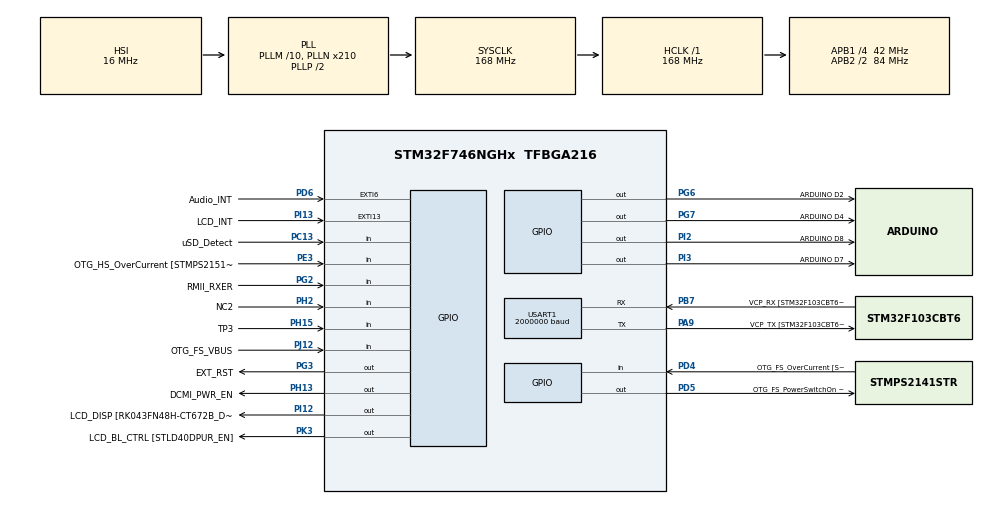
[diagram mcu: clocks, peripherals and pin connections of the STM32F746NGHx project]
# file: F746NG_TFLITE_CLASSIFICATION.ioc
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CORTEX_M7.CPU_DCache=Enabled
CORTEX_M7.CPU_ICache=Enabled
Mcu.Family=STM32F7
Mcu.Name=STM32F746NGHx
Mcu.Package=TFBGA216
NVIC.PriorityGroup=NVIC_PRIORITYGROUP_4
PA0/WKUP.GPIO_Label=ARDUINO A0
PA0/WKUP.GPIO_Mode=GPIO_MODE_ANALOG
PA0/WKUP.GPIO_PuPd=GPIO_NOPULL
PA0/WKUP.Signal=ADCx_IN0
PA1.GPIO_Label=RMII_REF_CLK [LAN8742A-CZ-TR_REFCLK0]
PA1.Signal=ETH_REF_CLK
PA10.GPIO_Label=OTG_FS_ID
PA10.Signal=USB_OTG_FS_ID
PA11.GPIO_Label=OTG_FS_N
PA11.Signal=USB_OTG_FS_DM
PA12.GPIO_Label=OTG_FS_P
PA12.Signal=USB_OTG_FS_DP
PA13.GPIO_Label=SWDIO
PA13.Signal=SYS_JTMS-SWDIO
PA14.GPIO_Label=SWCLK
PA14.Signal=SYS_JTCK-SWCLK
PA15.GPIO_Label=ARDUINO PWM/D9
PA15.GPIO_ModeDefaultPP=GPIO_MODE_AF_PP
PA15.GPIO_PuPd=GPIO_NOPULL
PA15.GPIO_Speed=GPIO_SPEED_FREQ_LOW
PA15.Signal=S_TIM2_CH1_ETR
PA2.GPIO_Label=RMII_MDIO [LAN8742A-CZ-TR_MDIO]
PA2.Signal=ETH_MDIO
PA3.GPIO_Label=ULPI_D0 [USB3320C-EZK_D0]
PA3.Signal=USB_OTG_HS_ULPI_D0
PA4.GPIO_Label=DCMI_HSYNC
PA4.Signal=DCMI_HSYNC
PA5.GPIO_Label=ULPI_CLK [USB3320C-EZK_CLKOUT]
PA5.Signal=USB_OTG_HS_ULPI_CK
PA6.Signal=DCMI_PIXCLK
PA7.GPIO_Label=RMII_CRS_DV [LAN8742A-CZ-TR_CRS_DV]
PA7.Signal=ETH_CRS_DV
PA8.GPIO_Label=ARDUINO PWM/D10
PA8.GPIO_ModeDefaultPP=GPIO_MODE_AF_PP
PA8.GPIO_PuPd=GPIO_NOPULL
PA8.GPIO_Speed=GPIO_SPEED_FREQ_LOW
PA8.Signal=S_TIM1_CH1
PA9.GPIO_Label=VCP_TX [STM32F103CBT6_PA3]
PA9.GPIO_Mode=GPIO_MODE_AF_PP
PA9.GPIO_PuPd=GPIO_NOPULL
PA9.GPIO_Speed=GPIO_SPEED_FREQ_LOW
PA9.Mode=Asynchronous
PA9.Signal=USART1_TX
PB0.GPIO_Label=ULPI_D1 [USB3320C-EZK_D1]
PB0.Signal=USB_OTG_HS_ULPI_D1
PB1.GPIO_Label=ULPI_D2 [USB3320C-EZK_D2]
PB1.Signal=USB_OTG_HS_ULPI_D2
PB10.GPIO_Label=ULPI_D3 [USB3320C-EZK_D3]
PB10.Signal=USB_OTG_HS_ULPI_D3
PB11.GPIO_Label=ULPI_D4 [USB3320C-EZK_D4]
PB11.Signal=USB_OTG_HS_ULPI_D4
PB12.GPIO_Label=ULPI_D5 [USB3320C-EZK_D5]
PB12.Signal=USB_OTG_HS_ULPI_D5
PB13.GPIO_Label=ULPI_D6 [USB3320C-EZK_D6]
PB13.Signal=USB_OTG_HS_ULPI_D6
PB14.GPIO_Label=ARDUINO MISO/D12
PB14.GPIO_Mode=GPIO_MODE_AF_PP
PB14.GPIO_PuPd=GPIO_NOPULL
PB14.GPIO_Speed=GPIO_SPEED_FREQ_LOW
PB14.Signal=SPI2_MISO
PB15.GPIO_Label=ARDUINO MOSI/PWM/D11
PB15.GPIO_Mode=GPIO_MODE_AF_PP
PB15.GPIO_PuPd=GPIO_NOPULL
PB15.GPIO_Speed=GPIO_SPEED_FREQ_LOW
PB15.Signal=SPI2_MOSI
PB2.Signal=QUADSPI_CLK
PB3.GPIO_Label=SWO
PB3.Signal=SYS_JTDO-SWO
PB4.GPIO_Label=ARDUINO PWM/D3
PB4.GPIO_ModeDefaultPP=GPIO_MODE_AF_PP
PB4.GPIO_PuPd=GPIO_NOPULL
PB4.GPIO_Speed=GPIO_SPEED_FREQ_LOW
PB4.Signal=S_TIM3_CH1
PB5.GPIO_Label=ULPI_D7 [USB3320C-EZK_D7]
PB5.Signal=USB_OTG_HS_ULPI_D7
PB6.GPIO_Label=QSPI_NCS [N25Q128A13EF840E_S]
PB6.Signal=QUADSPI_BK1_NCS
PB7.GPIO_Label=VCP_RX [STM32F103CBT6_PA2]
PB7.GPIO_Mode=GPIO_MODE_AF_PP
PB7.GPIO_PuPd=GPIO_NOPULL
PB7.GPIO_Speed=GPIO_SPEED_FREQ_LOW
PB7.Mode=Asynchronous
PB7.Signal=USART1_RX
PB8.GPIO_Label=ARDUINO SCL/D15
PB8.GPIO_Mode=GPIO_MODE_AF_OD
PB8.GPIO_PuPd=GPIO_NOPULL
PB8.GPIO_Speed=GPIO_SPEED_FREQ_LOW
PB8.Signal=I2C1_SCL
PB9.GPIO_Label=ARDUINO SDA/D14
PB9.GPIO_Mode=GPIO_MODE_AF_OD
PB9.GPIO_PuPd=GPIO_NOPULL
PB9.GPIO_Speed=GPIO_SPEED_FREQ_LOW
PB9.Signal=I2C1_SDA
PC0.GPIO_Label=ULPI_STP [USB3320C-EZK_STP]
PC0.Signal=USB_OTG_HS_ULPI_STP
PC1.GPIO_Label=RMII_MDC [LAN8742A-CZ-TR_MDC]
PC1.Signal=ETH_MDC
PC10.GPIO_Label=SDMMC_D2
PC10.Signal=SDMMC1_D2
PC11.GPIO_Label=SDMMC_D3
PC11.Signal=SDMMC1_D3
PC12.GPIO_Label=SDMMC_CK
PC12.Signal=SDMMC1_CK
PC13.GPIO_Label=uSD_Detect
PC13.Signal=GPIO_Input
PC14/OSC32_IN.GPIO_Label=RCC_OSC32_IN
PC14/OSC32_IN.Signal=RCC_OSC32_IN
PC15/OSC32_OUT.GPIO_Label=RCC_OSC32_OUT
PC15/OSC32_OUT.Signal=RCC_OSC32_OUT
PC2.GPIO_Label=ULPI_DIR [USB3320C-EZK_DIR]
PC2.Signal=USB_OTG_HS_ULPI_DIR
PC3.GPIO_Label=FMC_SDCKE0 [MT48LC4M32B2B5-6A_CKE]
PC3.Signal=FMC_SDCKE0
PC4.GPIO_Label=RMII_RXD0 [LAN8742A-CZ-TR_RXD0]
PC4.Signal=ETH_RXD0
PC5.GPIO_Label=RMII_RXD1 [LAN8742A-CZ-TR_RXD1]
PC5.Signal=ETH_RXD1
PC6.GPIO_Label=ARDUINO TX/D1
PC6.Signal=USART6_TX
PC7.GPIO_Label=ARDUINO RX/D0
PC7.Signal=USART6_RX
PC8.Signal=SDMMC1_D0
PC9.Signal=SDMMC1_D1
PD0.GPIO_Label=FMC_D2 [MT48LC4M32B2B5-6A_DQ2]
PD0.Signal=FMC_D2_DA2
PD1.GPIO_Label=FMC_D3 [MT48LC4M32B2B5-6A_DQ3]
PD1.Signal=FMC_D3_DA3
PD10.GPIO_Label=FMC_D15 [MT48LC4M32B2B5-6A_DQ15]
PD10.Signal=FMC_D15_DA15
PD11.GPIO_Label=QSPI_D0 [N25Q128A13EF840E_DQ0]
PD11.Signal=QUADSPI_BK1_IO0
PD12.GPIO_Label=QSPI_D1 [N25Q128A13EF840E_DQ1]
PD12.Signal=QUADSPI_BK1_IO1
PD13.GPIO_Label=QSPI_D3 [N25Q128A13EF840E_DQ3]
PD13.Signal=QUADSPI_BK1_IO3
PD14.GPIO_Label=FMC_D0 [MT48LC4M32B2B5-6A_DQ0]
PD14.Signal=FMC_D0_DA0
PD15.GPIO_Label=FMC_D1 [MT48LC4M32B2B5-6A_DQ1]
PD15.Signal=FMC_D1_DA1
PD2.GPIO_Label=SDMMC_D0
PD2.Signal=SDMMC1_CMD
PD3.GPIO_Label=DCMI_D5
PD3.Signal=DCMI_D5
PD4.GPIO_Label=OTG_FS_OverCurrent [STMPS2141STR_Fault]
PD4.Signal=GPIO_Input
PD5.GPIO_Label=OTG_FS_PowerSwitchOn [STMPS2141STR_EN]
PD5.PinState=GPIO_PIN_SET
PD5.Signal=GPIO_Output
PD6.GPIO_Label=Audio_INT
PD6.GPIO_ModeDefaultEXTI=GPIO_MODE_EVT_RISING
PD6.Signal=GPXTI6
PD7.GPIO_Label=SPDIF_RX0 [74LVC1G04SE_4]
PD7.Signal=SPDIFRX_IN0
PD8.GPIO_Label=FMC_D13 [MT48LC4M32B2B5-6A_DQ13]
PD8.Signal=FMC_D13_DA13
PD9.GPIO_Label=FMC_D14 [MT48LC4M32B2B5-6A_DQ14]
PD9.Signal=FMC_D14_DA14
PE0.GPIO_Label=FMC_NBL0 [MT48LC4M32B2B5-6A_DQM0]
PE0.Signal=FMC_NBL0
PE1.GPIO_Label=FMC_NBL1 [MT48LC4M32B2B5-6A_DQM1]
PE1.Signal=FMC_NBL1
PE10.GPIO_Label=FMC_D7 [MT48LC4M32B2B5-6A_DQ7]
PE10.Signal=FMC_D7_DA7
PE11.GPIO_Label=FMC_D8 [MT48LC4M32B2B5-6A_DQ8]
PE11.Signal=FMC_D8_DA8
PE12.GPIO_Label=FMC_D9 [MT48LC4M32B2B5-6A_DQ9]
PE12.Signal=FMC_D9_DA9
PE13.GPIO_Label=FMC_D10 [MT48LC4M32B2B5-6A_DQ10]
PE13.Signal=FMC_D10_DA10
PE14.GPIO_Label=FMC_D11 [MT48LC4M32B2B5-6A_DQ11]
PE14.Signal=FMC_D11_DA11
PE15.GPIO_Label=FMC_D12 [MT48LC4M32B2B5-6A_DQ12]
PE15.Signal=FMC_D12_DA12
PE2.GPIO_Label=QSPI_D2 [N25Q128A13EF840E_DQ2]
PE2.Signal=QUADSPI_BK1_IO2
PE3.GPIO_Label=OTG_HS_OverCurrent [STMPS2151STR_FAULT]
PE3.Signal=GPIO_Input
PE4.GPIO_Label=LCD_B0 [RK043FN48H-CT672B_B0]
PE4.Signal=LTDC_B0
PE5.GPIO_Label=DCMI_D6
PE5.Signal=DCMI_D6
PE6.GPIO_Label=DCMI_D7
PE6.Signal=DCMI_D7
PE7.GPIO_Label=FMC_D4 [MT48LC4M32B2B5-6A_DQ4]
PE7.Signal=FMC_D4_DA4
PE8.GPIO_Label=FMC_D5 [MT48LC4M32B2B5-6A_DQ5]
PE8.Signal=FMC_D5_DA5
PE9.GPIO_Label=FMC_D6 [MT48LC4M32B2B5-6A_DQ6]
PE9.Signal=FMC_D6_DA6
PF0.GPIO_Label=FMC_A0 [MT48LC4M32B2B5-6A_A0]
PF0.Signal=FMC_A0
PF1.GPIO_Label=FMC_A1 [MT48LC4M32B2B5-6A_A1]
PF1.Signal=FMC_A1
PF10.GPIO_Label=ARDUINO A1
PF10.GPIO_Mode=GPIO_MODE_ANALOG
PF10.GPIO_PuPd=GPIO_NOPULL
PF10.Signal=ADC3_IN8
PF11.GPIO_Label=FMC_SDNRAS [MT48LC4M32B2B5-6A_RAS]
PF11.Signal=FMC_SDNRAS
PF12.GPIO_Label=FMC_A6 [MT48LC4M32B2B5-6A_A6]
PF12.Signal=FMC_A6
PF13.GPIO_Label=FMC_A7 [MT48LC4M32B2B5-6A_A7]
PF13.Signal=FMC_A7
PF14.GPIO_Label=FMC_A8 [MT48LC4M32B2B5-6A_A8]
PF14.Signal=FMC_A8
PF15.GPIO_Label=FMC_A9 [MT48LC4M32B2B5-6A_A9]
PF15.Signal=FMC_A9
PF2.GPIO_Label=FMC_A2 [MT48LC4M32B2B5-6A_A2]
PF2.Signal=FMC_A2
PF3.GPIO_Label=FMC_A3 [MT48LC4M32B2B5-6A_A3]
PF3.Signal=FMC_A3
PF4.GPIO_Label=FMC_A4 [MT48LC4M32B2B5-6A_A4]
PF4.Signal=FMC_A4
PF5.GPIO_Label=FMC_A5 [MT48LC4M32B2B5-6A_A5]
PF5.Signal=FMC_A5
PF6.GPIO_Label=ARDUINO A5
PF6.GPIO_Mode=GPIO_MODE_ANALOG
PF6.GPIO_PuPd=GPIO_NOPULL
PF6.Signal=ADC3_IN4
PF7.GPIO_Label=ARDUINO A4
PF7.GPIO_Mode=GPIO_MODE_ANALOG
PF7.GPIO_PuPd=GPIO_NOPULL
PF7.Signal=ADC3_IN5
PF8.GPIO_Label=ARDUINO A3
PF8.GPIO_Mode=GPIO_MODE_ANALOG
PF8.GPIO_PuPd=GPIO_NOPULL
PF8.Signal=ADC3_IN6
PF9.GPIO_Label=ARDUINO A2
PF9.GPIO_Mode=GPIO_MODE_ANALOG
PF9.GPIO_PuPd=GPIO_NOPULL
PF9.Signal=ADC3_IN7
PG0.GPIO_Label=FMC_A10 [MT48LC4M32B2B5-6A_A10]
PG0.Signal=FMC_A10
PG1.GPIO_Label=FMC_A11 [MT48LC4M32B2B5-6A_A11]
PG1.Signal=FMC_A11
PG10.GPIO_Label=SAI2_SDB [WM8994ECS/R_ADCDAT1]
PG10.Signal=SAI2_SD_B
PG11.GPIO_Label=RMII_TX_EN [LAN8742A-CZ-TR_TXEN]
PG11.Signal=ETH_TX_EN
PG12.GPIO_Label=LCD_B4 [RK043FN48H-CT672B_B4]
PG12.Signal=LTDC_B4
PG13.GPIO_Label=RMII_TXD0 [LAN8742A-CZ-TR_TXD0]
PG13.Signal=ETH_TXD0
PG14.GPIO_Label=RMII_TXD1 [LAN8742A-CZ-TR_TXD1]
PG14.Signal=ETH_TXD1
PG15.GPIO_Label=FMC_SDNCAS [MT48LC4M32B2B5-6A_CAS]
PG15.Signal=FMC_SDNCAS
PG2.GPIO_Label=RMII_RXER
PG2.Signal=GPIO_Input
PG3.GPIO_Label=EXT_RST
PG3.Signal=GPIO_Output
PG4.GPIO_Label=FMC_BA0 [MT48LC4M32B2B5-6A_BA0]
PG4.Signal=FMC_A14_BA0
PG5.GPIO_Label=FMC_BA1 [MT48LC4M32B2B5-6A_BA1]
PG5.Signal=FMC_A15_BA1
PG6.GPIO_Label=ARDUINO D2
PG6.Signal=GPIO_Output
PG7.GPIO_Label=ARDUINO D4
PG7.Signal=GPIO_Output
PG8.GPIO_Label=FMC_SDCLK [MT48LC4M32B2B5-6A_CLK]
PG8.Signal=FMC_SDCLK
PG9.GPIO_Label=DCMI_VSYNC
PG9.Signal=DCMI_VSYNC
PH0/OSC_IN.GPIO_Label=OSC_25M [NZ2520SB-25.00M_OUT]
PH0/OSC_IN.Signal=RCC_OSC_IN
PH1/OSC_OUT.Signal=RCC_OSC_OUT
PH10.GPIO_Label=DCMI_D1
PH10.Signal=DCMI_D1
PH11.GPIO_Label=DCMI_D2
PH11.Signal=DCMI_D2
PH12.GPIO_Label=DCMI_D3
PH12.Signal=DCMI_D3
PH13.GPIO_Label=DCMI_PWR_EN
PH13.Signal=GPIO_Output
PH14.GPIO_Label=DCMI_D4
PH14.Signal=DCMI_D4
PH15.GPIO_Label=TP3
PH15.Signal=GPIO_Input
PH2.GPIO_Label=NC2
PH2.Signal=GPIO_Input
PH3.GPIO_Label=FMC_SDNE0 [MT48LC4M32B2B5-6A_CS]
PH3.Signal=FMC_SDNE0
PH4.GPIO_Label=ULPI_NXT [USB3320C-EZK_NXT]
PH4.Signal=USB_OTG_HS_ULPI_NXT
PH5.GPIO_Label=FMC_SDNME [MT48LC4M32B2B5-6A_WE]
PH5.Signal=FMC_SDNWE
PH6.GPIO_Label=ARDUINO PWM/D6
PH6.Signal=S_TIM12_CH1
PH7.GPIO_Label=LCD_SCL [RK043FN48H-CT672B_SCL]
PH7.Signal=I2C3_SCL
PH8.GPIO_Label=LCD_SDA [RK043FN48H-CT672B_SDA]
PH8.Signal=I2C3_SDA
PH9.GPIO_Label=DCMI_D0
PH9.Signal=DCMI_D0
PI0.GPIO_Label=ARDUINO PWM/CS/D5
PI0.GPIO_ModeDefaultPP=GPIO_MODE_AF_PP
PI0.GPIO_PuPd=GPIO_NOPULL
PI0.GPIO_Speed=GPIO_SPEED_FREQ_LOW
PI0.Signal=S_TIM5_CH4
PI1.GPIO_Label=ARDUINO SCK/D13
PI1.GPIO_Mode=GPIO_MODE_AF_PP
PI1.GPIO_PuPd=GPIO_NOPULL
PI1.GPIO_Speed=GPIO_SPEED_FREQ_LOW
PI1.Signal=SPI2_SCK
PI10.GPIO_Label=LCD_HSYNC [RK043FN48H-CT672B_HSYNC]
PI10.Signal=LTDC_HSYNC
PI12.GPIO_Label=LCD_DISP [RK043FN48H-CT672B_DISP] 
PI12.Signal=GPIO_Output
PI13.GPIO_Label=LCD_INT
PI13.GPIO_ModeDefaultEXTI=GPIO_MODE_EVT_RISING
PI13.Signal=GPXTI13
PI14.GPIO_Label=LCD_CLK [RK043FN48H-CT672B_CLK]
PI14.Signal=LTDC_CLK
PI15.GPIO_Label=LCD_R0 [RK043FN48H-CT672B_R0]
PI15.Signal=LTDC_R0
PI2.GPIO_Label=ARDUINO D8
PI2.Signal=GPIO_Output
PI3.GPIO_Label=ARDUINO D7
PI3.Signal=GPIO_Output
PI4.GPIO_Label=SAI2_MCLKA [WM8994ECS/R_MCLK1]
PI4.Signal=SAI2_MCLK_A
PI5.GPIO_Label=SAI2_SCKA [WM8994ECS/R_BCLK1]
PI5.Signal=SAI2_SCK_A
PI6.GPIO_Label=SAI2_SDA [WM8994ECS/R_DACDAT1]
PI6.Signal=SAI2_SD_A
PI7.GPIO_Label=SAI2_FSA [WM8994ECS/R_LRCLK1]
PI7.Signal=SAI2_FS_A
PI8.GPIO_Label=NC1 [TP2]
PI8.Signal=RTC_TS
PI9.GPIO_Label=LCD_VSYNC [RK043FN48H-CT672B_VSYNC]
PI9.Signal=LTDC_VSYNC
PJ0.GPIO_Label=LCD_R1 [RK043FN48H-CT672B_R1]
PJ0.Signal=LTDC_R1
PJ1.GPIO_Label=LCD_R2 [RK043FN48H-CT672B_R2]
PJ1.Signal=LTDC_R2
PJ10.GPIO_Label=LCD_G3 [RK043FN48H-CT672B_G3]
PJ10.Signal=LTDC_G3
PJ11.GPIO_Label=LCD_G4 [RK043FN48H-CT672B_G4]
PJ11.Signal=LTDC_G4
PJ12.GPIO_Label=OTG_FS_VBUS
PJ12.Signal=GPIO_Input
PJ13.GPIO_Label=LCD_B1 [RK043FN48H-CT672B_B1]
PJ13.Signal=LTDC_B1
PJ14.GPIO_Label=LCD_B2 [RK043FN48H-CT672B_B2]
PJ14.Signal=LTDC_B2
PJ15.GPIO_Label=LCD_B3 [RK043FN48H-CT672B_B3]
PJ15.Signal=LTDC_B3
PJ2.GPIO_Label=LCD_R3 [RK043FN48H-CT672B_R3]
PJ2.Signal=LTDC_R3
PJ3.GPIO_Label=LCD_R4 [RK043FN48H-CT672B_R4]
PJ3.Signal=LTDC_R4
PJ4.GPIO_Label=LCD_R5 [RK043FN48H-CT672B_R5]
PJ4.Signal=LTDC_R5
PJ5.GPIO_Label=LCD_R6 [RK043FN48H-CT672B_R6]
PJ5.Signal=LTDC_R6
PJ6.GPIO_Label=LCD_R7 [RK043FN48H-CT672B_R7]
PJ6.Signal=LTDC_R7
PJ7.GPIO_Label=LCD_G0 [RK043FN48H-CT672B_G0]
PJ7.Signal=LTDC_G0
PJ8.GPIO_Label=LCD_G1 [RK043FN48H-CT672B_G1]
PJ8.Signal=LTDC_G1
PJ9.GPIO_Label=LCD_G2 [RK043FN48H-CT672B_G2]
PJ9.Signal=LTDC_G2
PK0.GPIO_Label=LCD_G5 [RK043FN48H-CT672B_G5]
PK0.Signal=LTDC_G5
PK1.GPIO_Label=LCD_G6 [RK043FN48H-CT672B_G6]
PK1.Signal=LTDC_G6
PK2.GPIO_Label=LCD_G7 [RK043FN48H-CT672B_G7]
PK2.Signal=LTDC_G7
PK3.GPIO_Label=LCD_BL_CTRL [STLD40DPUR_EN]
PK3.Signal=GPIO_Output
PK4.GPIO_Label=LCD_B5 [RK043FN48H-CT672B_B5]
PK4.Signal=LTDC_B5
PK5.GPIO_Label=LCD_B6 [RK043FN48H-CT672B_B6]
PK5.Signal=LTDC_B6
PK6.GPIO_Label=LCD_B7 [RK043FN48H-CT672B_B7]
PK6.Signal=LTDC_B7
PK7.GPIO_Label=LCD_DE [RK043FN48H-CT672B_DE]
PK7.Signal=LTDC_DE
ProjectManager.HeapSize=0x200
ProjectManager.StackSize=0x400
ProjectManager.TargetToolchain=STM32CubeIDE
RCC.AHBFreq_Value=168000000
RCC.APB1CLKDivider=RCC_HCLK_DIV4
RCC.APB1Freq_Value=42000000
RCC.APB1TimFreq_Value=84000000
RCC.APB2CLKDivider=RCC_HCLK_DIV2
RCC.APB2Freq_Value=84000000
RCC.APB2TimFreq_Value=168000000
RCC.CortexFreq_Value=168000000
RCC.HCLKFreq_Value=168000000
RCC.HSE_VALUE=25000000
RCC.HSI_VALUE=16000000
RCC.LSE_VALUE=32768
RCC.PLLM=10
RCC.PLLN=210
RCC.PLLQ=7
RCC.PLLSourceVirtual=RCC_PLLSOURCE_HSI
RCC.SYSCLKFreq_VALUE=168000000
RCC.SYSCLKSource=RCC_SYSCLKSOURCE_PLLCLK
RCC.USBFreq_Value=48000000
RCC.VCOOutputFreq_Value=336000000
SH.ADCx_IN0.0=ADC3_IN0
SH.FMC_A0.0=FMC_A0
SH.FMC_A1.0=FMC_A1
SH.FMC_A10.0=FMC_A10
SH.FMC_A11.0=FMC_A11
SH.FMC_A14_BA0.0=FMC_BA0
SH.FMC_A15_BA1.0=FMC_BA1
SH.FMC_A2.0=FMC_A2
SH.FMC_A3.0=FMC_A3
SH.FMC_A4.0=FMC_A4
SH.FMC_A5.0=FMC_A5
SH.FMC_A6.0=FMC_A6
SH.FMC_A7.0=FMC_A7
SH.FMC_A8.0=FMC_A8
SH.FMC_A9.0=FMC_A9
SH.FMC_D0_DA0.0=FMC_D0
SH.FMC_D10_DA10.0=FMC_D10
SH.FMC_D11_DA11.0=FMC_D11
SH.FMC_D12_DA12.0=FMC_D12
SH.FMC_D13_DA13.0=FMC_D13
SH.FMC_D14_DA14.0=FMC_D14
SH.FMC_D15_DA15.0=FMC_D15
SH.FMC_D1_DA1.0=FMC_D1
SH.FMC_D2_DA2.0=FMC_D2
SH.FMC_D3_DA3.0=FMC_D3
SH.FMC_D4_DA4.0=FMC_D4
SH.FMC_D5_DA5.0=FMC_D5
SH.FMC_D6_DA6.0=FMC_D6
SH.FMC_D7_DA7.0=FMC_D7
SH.FMC_D8_DA8.0=FMC_D8
SH.FMC_D9_DA9.0=FMC_D9
SH.FMC_NBL0.0=FMC_NBL0
SH.FMC_NBL1.0=FMC_NBL1
SH.FMC_SDCLK.0=FMC_SDCLK
SH.FMC_SDNCAS.0=FMC_SDNCAS
SH.FMC_SDNRAS.0=FMC_SDNRAS
SH.FMC_SDNWE.0=FMC_SDNWE
SH.S_TIM12_CH1.0=TIM12_CH1
SH.S_TIM1_CH1.0=TIM1_CH1
SH.S_TIM2_CH1_ETR.0=TIM2_CH1
SH.S_TIM3_CH1.0=TIM3_CH1
SH.S_TIM5_CH4.0=TIM5_CH4
USART1.BaudRate=2000000
USART1.VirtualMode-Asynchronous=VM_ASYNC
VP_RNG_VS_RNG.Mode=RNG_Activate
board=STM32F746G-DISCO

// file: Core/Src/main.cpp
/* USER CODE BEGIN Header */
/**
  ******************************************************************************
  * @file           : main.c
  * @brief          : Main program body
  ******************************************************************************
  * @attention
  *
  * Copyright (c) 2024 STMicroelectronics.
  * All rights reserved.
  *
  * This software is licensed under terms that can be found in the LICENSE file
  * in the root directory of this software component.
  * If no LICENSE file comes with this software, it is provided AS-IS.
  *
  ******************************************************************************
  */
/* USER CODE END Header */
#include "main.h"

/* USER CODE BEGIN Includes */
#include "classification.h"
#include "lib_serial.h"
#include "lib_rng.h"
#include "lib_model.h"
/* USER CODE END Includes */

RNG_HandleTypeDef hrng;

UART_HandleTypeDef huart1;

void SystemClock_Config(void);
static void MX_GPIO_Init(void);
static void MX_RNG_Init(void);
static void MX_USART1_UART_Init(void);

/* USER CODE BEGIN 0 */

#define INPUT_PC		1
#define INPUT_MCU		2
#define INPUT			INPUT_PC

#define SIZE_INPUT 		2
#define SIZE_OUTPUT 	1

constexpr int kTensorArenaSize = 136 * 1024;
alignas(16) static uint8_t tensor_arena[kTensorArenaSize];
TfLiteTensor* input = nullptr;
TfLiteTensor* output = nullptr;

/* USER CODE END 0 */

int main(void)
{

  /* Enable I-Cache---------------------------------------------------------*/
  SCB_EnableICache();

  /* Enable D-Cache---------------------------------------------------------*/
  SCB_EnableDCache();

  /* MCU Configuration--------------------------------------------------------*/

  /* Reset of all peripherals, Initializes the Flash interface and the Systick. */
  HAL_Init();

  /* Configure the system clock */
  SystemClock_Config();

  /* Initialize all configured peripherals */
  MX_GPIO_Init();
  MX_RNG_Init();
  MX_USART1_UART_Init();
  /* USER CODE BEGIN 2 */
  LIB_MODEL_Init(converted_model_tflite, &input, tensor_arena, kTensorArenaSize);
  /* USER CODE END 2 */

  /* Infinite loop */
  while (1)
  {

    /* USER CODE BEGIN 3 */
#if (INPUT == INPUT_PC)
	LIB_SERIAL_Receive(input->data.f, SIZE_INPUT, TYPE_F32);
#elif (INPUT == INPUT_MCU)
	for (uint32_t i = 0; i < SIZE_INPUT; ++i)
		input->data.f[i] = (float)(LIB_RNG_GetRandomNumber() % 1000) / 1000.0f;
	LIB_SERIAL_Transmit(input->data.f, SIZE_INPUT, TYPE_F32);
#endif
	LIB_MODEL_Run(&output);
	LIB_SERIAL_Transmit(output->data.f, SIZE_OUTPUT, TYPE_F32);
	HAL_Delay(1000);
  }
  /* USER CODE END 3 */
}

void SystemClock_Config(void)
{
  RCC_OscInitTypeDef RCC_OscInitStruct = {0};
  RCC_ClkInitTypeDef RCC_ClkInitStruct = {0};

  /** Configure the main internal regulator output voltage
  */
  __HAL_RCC_PWR_CLK_ENABLE();
  __HAL_PWR_VOLTAGESCALING_CONFIG(PWR_REGULATOR_VOLTAGE_SCALE2);
  /** Initializes the RCC Oscillators according to the specified parameters
  * in the RCC_OscInitTypeDef structure.
  */
  RCC_OscInitStruct.OscillatorType = RCC_OSCILLATORTYPE_HSI;
  RCC_OscInitStruct.HSIState = RCC_HSI_ON;
  RCC_OscInitStruct.HSICalibrationValue = RCC_HSICALIBRATION_DEFAULT;
  RCC_OscInitStruct.PLL.PLLState = RCC_PLL_ON;
  RCC_OscInitStruct.PLL.PLLSource = RCC_PLLSOURCE_HSI;
  RCC_OscInitStruct.PLL.PLLM = 10;
  RCC_OscInitStruct.PLL.PLLN = 210;
  RCC_OscInitStruct.PLL.PLLP = RCC_PLLP_DIV2;
  RCC_OscInitStruct.PLL.PLLQ = 7;
  if (HAL_RCC_OscConfig(&RCC_OscInitStruct) != HAL_OK)
  {
    Error_Handler();
  }
  /** Initializes the CPU, AHB and APB buses clocks
  */
  RCC_ClkInitStruct.ClockType = RCC_CLOCKTYPE_HCLK|RCC_CLOCKTYPE_SYSCLK
                              |RCC_CLOCKTYPE_PCLK1|RCC_CLOCKTYPE_PCLK2;
  RCC_ClkInitStruct.SYSCLKSource = RCC_SYSCLKSOURCE_PLLCLK;
  RCC_ClkInitStruct.AHBCLKDivider = RCC_SYSCLK_DIV1;
  RCC_ClkInitStruct.APB1CLKDivider = RCC_HCLK_DIV4;
  RCC_ClkInitStruct.APB2CLKDivider = RCC_HCLK_DIV2;

  if (HAL_RCC_ClockConfig(&RCC_ClkInitStruct, FLASH_LATENCY_5) != HAL_OK)
  {
    Error_Handler();
  }
}

static void MX_RNG_Init(void)
{

  hrng.Instance = RNG;
  if (HAL_RNG_Init(&hrng) != HAL_OK)
  {
    Error_Handler();
  }

}

static void MX_USART1_UART_Init(void)
{

  huart1.Instance = USART1;
  huart1.Init.BaudRate = 2000000;
  huart1.Init.WordLength = UART_WORDLENGTH_8B;
  huart1.Init.StopBits = UART_STOPBITS_1;
  huart1.Init.Parity = UART_PARITY_NONE;
  huart1.Init.Mode = UART_MODE_TX_RX;
  huart1.Init.HwFlowCtl = UART_HWCONTROL_NONE;
  huart1.Init.OverSampling = UART_OVERSAMPLING_16;
  huart1.Init.OneBitSampling = UART_ONE_BIT_SAMPLE_DISABLE;
  huart1.AdvancedInit.AdvFeatureInit = UART_ADVFEATURE_NO_INIT;
  if (HAL_UART_Init(&huart1) != HAL_OK)
  {
    Error_Handler();
  }

}

static void MX_GPIO_Init(void)
{
  GPIO_InitTypeDef GPIO_InitStruct = {0};

  /* GPIO Ports Clock Enable */
  __HAL_RCC_GPIOE_CLK_ENABLE();
  __HAL_RCC_GPIOG_CLK_ENABLE();
  __HAL_RCC_GPIOB_CLK_ENABLE();
  __HAL_RCC_GPIOD_CLK_ENABLE();
  __HAL_RCC_GPIOC_CLK_ENABLE();
  __HAL_RCC_GPIOA_CLK_ENABLE();
  __HAL_RCC_GPIOJ_CLK_ENABLE();
  __HAL_RCC_GPIOI_CLK_ENABLE();
  __HAL_RCC_GPIOK_CLK_ENABLE();
  __HAL_RCC_GPIOF_CLK_ENABLE();
  __HAL_RCC_GPIOH_CLK_ENABLE();

  /*Configure GPIO pin Output Level */
  HAL_GPIO_WritePin(OTG_FS_PowerSwitchOn_GPIO_Port, OTG_FS_PowerSwitchOn_Pin, GPIO_PIN_SET);

  /*Configure GPIO pin Output Level */
  HAL_GPIO_WritePin(GPIOI, ARDUINO_D7_Pin|ARDUINO_D8_Pin|LCD_DISP_Pin, GPIO_PIN_RESET);

  /*Configure GPIO pin Output Level */
  HAL_GPIO_WritePin(LCD_BL_CTRL_GPIO_Port, LCD_BL_CTRL_Pin, GPIO_PIN_RESET);

  /*Configure GPIO pin Output Level */
  HAL_GPIO_WritePin(DCMI_PWR_EN_GPIO_Port, DCMI_PWR_EN_Pin, GPIO_PIN_RESET);

  /*Configure GPIO pin Output Level */
  HAL_GPIO_WritePin(GPIOG, ARDUINO_D4_Pin|ARDUINO_D2_Pin|EXT_RST_Pin, GPIO_PIN_RESET);

  /*Configure GPIO pin : LCD_B0_Pin */
  GPIO_InitStruct.Pin = LCD_B0_Pin;
  GPIO_InitStruct.Mode = GPIO_MODE_AF_PP;
  GPIO_InitStruct.Pull = GPIO_NOPULL;
  GPIO_InitStruct.Speed = GPIO_SPEED_FREQ_LOW;
  GPIO_InitStruct.Alternate = GPIO_AF14_LTDC;
  HAL_GPIO_Init(LCD_B0_GPIO_Port, &GPIO_InitStruct);

  /*Configure GPIO pin : OTG_HS_OverCurrent_Pin */
  GPIO_InitStruct.Pin = OTG_HS_OverCurrent_Pin;
  GPIO_InitStruct.Mode = GPIO_MODE_INPUT;
  GPIO_InitStruct.Pull = GPIO_NOPULL;
  HAL_GPIO_Init(OTG_HS_OverCurrent_GPIO_Port, &GPIO_InitStruct);

  /*Configure GPIO pin : QSPI_D2_Pin */
  GPIO_InitStruct.Pin = QSPI_D2_Pin;
  GPIO_InitStruct.Mode = GPIO_MODE_AF_PP;
  GPIO_InitStruct.Pull = GPIO_NOPULL;
  GPIO_InitStruct.Speed = GPIO_SPEED_FREQ_VERY_HIGH;
  GPIO_InitStruct.Alternate = GPIO_AF9_QUADSPI;
  HAL_GPIO_Init(QSPI_D2_GPIO_Port, &GPIO_InitStruct);

  /*Configure GPIO pins : RMII_TXD1_Pin RMII_TXD0_Pin RMII_TX_EN_Pin */
  GPIO_InitStruct.Pin = RMII_TXD1_Pin|RMII_TXD0_Pin|RMII_TX_EN_Pin;
  GPIO_InitStruct.Mode = GPIO_MODE_AF_PP;
  GPIO_InitStruct.Pull = GPIO_NOPULL;
  GPIO_InitStruct.Speed = GPIO_SPEED_FREQ_VERY_HIGH;
  GPIO_InitStruct.Alternate = GPIO_AF11_ETH;
  HAL_GPIO_Init(GPIOG, &GPIO_InitStruct);

  /*Configure GPIO pins : FMC_NBL1_Pin FMC_NBL0_Pin FMC_D5_Pin FMC_D6_Pin
                           FMC_D8_Pin FMC_D11_Pin FMC_D4_Pin FMC_D7_Pin
                           FMC_D9_Pin FMC_D12_Pin FMC_D10_Pin */
  GPIO_InitStruct.Pin = FMC_NBL1_Pin|FMC_NBL0_Pin|FMC_D5_Pin|FMC_D6_Pin
                          |FMC_D8_Pin|FMC_D11_Pin|FMC_D4_Pin|FMC_D7_Pin
                          |FMC_D9_Pin|FMC_D12_Pin|FMC_D10_Pin;
  GPIO_InitStruct.Mode = GPIO_MODE_AF_PP;
  GPIO_InitStruct.Pull = GPIO_NOPULL;
  GPIO_InitStruct.Speed = GPIO_SPEED_FREQ_VERY_HIGH;
  GPIO_InitStruct.Alternate = GPIO_AF12_FMC;
  HAL_GPIO_Init(GPIOE, &GPIO_InitStruct);

  /*Configure GPIO pins : ARDUINO_SCL_D15_Pin ARDUINO_SDA_D14_Pin */
  GPIO_InitStruct.Pin = ARDUINO_SCL_D15_Pin|ARDUINO_SDA_D14_Pin;
  GPIO_InitStruct.Mode = GPIO_MODE_AF_OD;
  GPIO_InitStruct.Pull = GPIO_NOPULL;
  GPIO_InitStruct.Speed = GPIO_SPEED_FREQ_LOW;
  GPIO_InitStruct.Alternate = GPIO_AF4_I2C1;
  HAL_GPIO_Init(GPIOB, &GPIO_InitStruct);

  /*Configure GPIO pins : ULPI_D7_Pin ULPI_D6_Pin ULPI_D5_Pin ULPI_D3_Pin
                           ULPI_D2_Pin ULPI_D1_Pin ULPI_D4_Pin */
  GPIO_InitStruct.Pin = ULPI_D7_Pin|ULPI_D6_Pin|ULPI_D5_Pin|ULPI_D3_Pin
                          |ULPI_D2_Pin|ULPI_D1_Pin|ULPI_D4_Pin;
  GPIO_InitStruct.Mode = GPIO_MODE_AF_PP;
  GPIO_InitStruct.Pull = GPIO_NOPULL;
  GPIO_InitStruct.Speed = GPIO_SPEED_FREQ_VERY_HIGH;
  GPIO_InitStruct.Alternate = GPIO_AF10_OTG_HS;
  HAL_GPIO_Init(GPIOB, &GPIO_InitStruct);

  /*Configure GPIO pin : ARDUINO_PWM_D3_Pin */
  GPIO_InitStruct.Pin = ARDUINO_PWM_D3_Pin;
  GPIO_InitStruct.Mode = GPIO_MODE_AF_PP;
  GPIO_InitStruct.Pull = GPIO_NOPULL;
  GPIO_InitStruct.Speed = GPIO_SPEED_FREQ_LOW;
  GPIO_InitStruct.Alternate = GPIO_AF2_TIM3;
  HAL_GPIO_Init(ARDUINO_PWM_D3_GPIO_Port, &GPIO_InitStruct);

  /*Configure GPIO pin : SPDIF_RX0_Pin */
  GPIO_InitStruct.Pin = SPDIF_RX0_Pin;
  GPIO_InitStruct.Mode = GPIO_MODE_AF_PP;
  GPIO_InitStruct.Pull = GPIO_NOPULL;
  GPIO_InitStruct.Speed = GPIO_SPEED_FREQ_LOW;
  GPIO_InitStruct.Alternate = GPIO_AF8_SPDIFRX;
  HAL_GPIO_Init(SPDIF_RX0_GPIO_Port, &GPIO_InitStruct);

  /*Configure GPIO pins : SDMMC_CK_Pin SDMMC_D3_Pin SDMMC_D2_Pin PC9
                           PC8 */
  GPIO_InitStruct.Pin = SDMMC_CK_Pin|SDMMC_D3_Pin|SDMMC_D2_Pin|GPIO_PIN_9
                          |GPIO_PIN_8;
  GPIO_InitStruct.Mode = GPIO_MODE_AF_PP;
  GPIO_InitStruct.Pull = GPIO_NOPULL;
  GPIO_InitStruct.Speed = GPIO_SPEED_FREQ_VERY_HIGH;
  GPIO_InitStruct.Alternate = GPIO_AF12_SDMMC1;
  HAL_GPIO_Init(GPIOC, &GPIO_InitStruct);

  /*Configure GPIO pin : ARDUINO_PWM_D9_Pin */
  GPIO_InitStruct.Pin = ARDUINO_PWM_D9_Pin;
  GPIO_InitStruct.Mode = GPIO_MODE_AF_PP;
  GPIO_InitStruct.Pull = GPIO_NOPULL;
  GPIO_InitStruct.Speed = GPIO_SPEED_FREQ_LOW;
  GPIO_InitStruct.Alternate = GPIO_AF1_TIM2;
  HAL_GPIO_Init(ARDUINO_PWM_D9_GPIO_Port, &GPIO_InitStruct);

  /*Configure GPIO pins : DCMI_D6_Pin DCMI_D7_Pin */
  GPIO_InitStruct.Pin = DCMI_D6_Pin|DCMI_D7_Pin;
  GPIO_InitStruct.Mode = GPIO_MODE_AF_PP;
  GPIO_InitStruct.Pull = GPIO_NOPULL;
  GPIO_InitStruct.Speed = GPIO_SPEED_FREQ_LOW;
  GPIO_InitStruct.Alternate = GPIO_AF13_DCMI;
  HAL_GPIO_Init(GPIOE, &GPIO_InitStruct);

  /*Configure GPIO pin : QSPI_NCS_Pin */
  GPIO_InitStruct.Pin = QSPI_NCS_Pin;
  GPIO_InitStruct.Mode = GPIO_MODE_AF_PP;
  GPIO_InitStruct.Pull = GPIO_NOPULL;
  GPIO_InitStruct.Speed = GPIO_SPEED_FREQ_VERY_HIGH;
  GPIO_InitStruct.Alternate = GPIO_AF10_QUADSPI;
  HAL_GPIO_Init(QSPI_NCS_GPIO_Port, &GPIO_InitStruct);

  /*Configure GPIO pins : FMC_SDNCAS_Pin FMC_SDCLK_Pin FMC_A11_Pin FMC_A10_Pin
                           FMC_BA1_Pin FMC_BA0_Pin */
  GPIO_InitStruct.Pin = FMC_SDNCAS_Pin|FMC_SDCLK_Pin|FMC_A11_Pin|FMC_A10_Pin
                          |FMC_BA1_Pin|FMC_BA0_Pin;
  GPIO_InitStruct.Mode = GPIO_MODE_AF_PP;
  GPIO_InitStruct.Pull = GPIO_NOPULL;
  GPIO_InitStruct.Speed = GPIO_SPEED_FREQ_VERY_HIGH;
  GPIO_InitStruct.Alternate = GPIO_AF12_FMC;
  HAL_GPIO_Init(GPIOG, &GPIO_InitStruct);

  /*Configure GPIO pins : LCD_B1_Pin LCD_B2_Pin LCD_B3_Pin LCD_G4_Pin
                           LCD_G1_Pin LCD_G3_Pin LCD_G0_Pin LCD_G2_Pin
                           LCD_R7_Pin LCD_R5_Pin LCD_R6_Pin LCD_R4_Pin
                           LCD_R3_Pin LCD_R1_Pin LCD_R2_Pin */
  GPIO_InitStruct.Pin = LCD_B1_Pin|LCD_B2_Pin|LCD_B3_Pin|LCD_G4_Pin
                          |LCD_G1_Pin|LCD_G3_Pin|LCD_G0_Pin|LCD_G2_Pin
                          |LCD_R7_Pin|LCD_R5_Pin|LCD_R6_Pin|LCD_R4_Pin
                          |LCD_R3_Pin|LCD_R1_Pin|LCD_R2_Pin;
  GPIO_InitStruct.Mode = GPIO_MODE_AF_PP;
  GPIO_InitStruct.Pull = GPIO_NOPULL;
  GPIO_InitStruct.Speed = GPIO_SPEED_FREQ_LOW;
  GPIO_InitStruct.Alternate = GPIO_AF14_LTDC;
  HAL_GPIO_Init(GPIOJ, &GPIO_InitStruct);

  /*Configure GPIO pin : OTG_FS_VBUS_Pin */
  GPIO_InitStruct.Pin = OTG_FS_VBUS_Pin;
  GPIO_InitStruct.Mode = GPIO_MODE_INPUT;
  GPIO_InitStruct.Pull = GPIO_NOPULL;
  HAL_GPIO_Init(OTG_FS_VBUS_GPIO_Port, &GPIO_InitStruct);

  /*Configure GPIO pin : Audio_INT_Pin */
  GPIO_InitStruct.Pin = Audio_INT_Pin;
  GPIO_InitStruct.Mode = GPIO_MODE_EVT_RISING;
  GPIO_InitStruct.Pull = GPIO_NOPULL;
  HAL_GPIO_Init(Audio_INT_GPIO_Port, &GPIO_InitStruct);

  /*Configure GPIO pins : FMC_D2_Pin FMC_D3_Pin FMC_D1_Pin FMC_D15_Pin
                           FMC_D0_Pin FMC_D14_Pin FMC_D13_Pin */
  GPIO_InitStruct.Pin = FMC_D2_Pin|FMC_D3_Pin|FMC_D1_Pin|FMC_D15_Pin
                          |FMC_D0_Pin|FMC_D14_Pin|FMC_D13_Pin;
  GPIO_InitStruct.Mode = GPIO_MODE_AF_PP;
  GPIO_InitStruct.Pull = GPIO_NOPULL;
  GPIO_InitStruct.Speed = GPIO_SPEED_FREQ_VERY_HIGH;
  GPIO_InitStruct.Alternate = GPIO_AF12_FMC;
  HAL_GPIO_Init(GPIOD, &GPIO_InitStruct);

  /*Configure GPIO pins : OTG_FS_P_Pin OTG_FS_N_Pin OTG_FS_ID_Pin */
  GPIO_InitStruct.Pin = OTG_FS_P_Pin|OTG_FS_N_Pin|OTG_FS_ID_Pin;
  GPIO_InitStruct.Mode = GPIO_MODE_AF_PP;
  GPIO_InitStruct.Pull = GPIO_NOPULL;
  GPIO_InitStruct.Speed = GPIO_SPEED_FREQ_VERY_HIGH;
  GPIO_InitStruct.Alternate = GPIO_AF10_OTG_FS;
  HAL_GPIO_Init(GPIOA, &GPIO_InitStruct);

  /*Configure GPIO pins : SAI2_MCLKA_Pin SAI2_SCKA_Pin SAI2_FSA_Pin SAI2_SDA_Pin */
  GPIO_InitStruct.Pin = SAI2_MCLKA_Pin|SAI2_SCKA_Pin|SAI2_FSA_Pin|SAI2_SDA_Pin;
  GPIO_InitStruct.Mode = GPIO_MODE_AF_PP;
  GPIO_InitStruct.Pull = GPIO_NOPULL;
  GPIO_InitStruct.Speed = GPIO_SPEED_FREQ_LOW;
  GPIO_InitStruct.Alternate = GPIO_AF10_SAI2;
  HAL_GPIO_Init(GPIOI, &GPIO_InitStruct);

  /*Configure GPIO pins : LCD_DE_Pin LCD_B7_Pin LCD_B6_Pin LCD_B5_Pin
                           LCD_G6_Pin LCD_G7_Pin LCD_G5_Pin */
  GPIO_InitStruct.Pin = LCD_DE_Pin|LCD_B7_Pin|LCD_B6_Pin|LCD_B5_Pin
                          |LCD_G6_Pin|LCD_G7_Pin|LCD_G5_Pin;
  GPIO_InitStruct.Mode = GPIO_MODE_AF_PP;
  GPIO_InitStruct.Pull = GPIO_NOPULL;
  GPIO_InitStruct.Speed = GPIO_SPEED_FREQ_LOW;
  GPIO_InitStruct.Alternate = GPIO_AF14_LTDC;
  HAL_GPIO_Init(GPIOK, &GPIO_InitStruct);

  /*Configure GPIO pin : LCD_B4_Pin */
  GPIO_InitStruct.Pin = LCD_B4_Pin;
  GPIO_InitStruct.Mode = GPIO_MODE_AF_PP;
  GPIO_InitStruct.Pull = GPIO_NOPULL;
  GPIO_InitStruct.Speed = GPIO_SPEED_FREQ_LOW;
  GPIO_InitStruct.Alternate = GPIO_AF9_LTDC;
  HAL_GPIO_Init(LCD_B4_GPIO_Port, &GPIO_InitStruct);

  /*Configure GPIO pin : SAI2_SDB_Pin */
  GPIO_InitStruct.Pin = SAI2_SDB_Pin;
  GPIO_InitStruct.Mode = GPIO_MODE_AF_PP;
  GPIO_InitStruct.Pull = GPIO_NOPULL;
  GPIO_InitStruct.Speed = GPIO_SPEED_FREQ_LOW;
  GPIO_InitStruct.Alternate = GPIO_AF10_SAI2;
  HAL_GPIO_Init(SAI2_SDB_GPIO_Port, &GPIO_InitStruct);

  /*Configure GPIO pin : OTG_FS_PowerSwitchOn_Pin */
  GPIO_InitStruct.Pin = OTG_FS_PowerSwitchOn_Pin;
  GPIO_InitStruct.Mode = GPIO_MODE_OUTPUT_PP;
  GPIO_InitStruct.Pull = GPIO_NOPULL;
  GPIO_InitStruct.Speed = GPIO_SPEED_FREQ_LOW;
  HAL_GPIO_Init(OTG_FS_PowerSwitchOn_GPIO_Port, &GPIO_InitStruct);

  /*Configure GPIO pin : DCMI_D5_Pin */
  GPIO_InitStruct.Pin = DCMI_D5_Pin;
  GPIO_InitStruct.Mode = GPIO_MODE_AF_PP;
  GPIO_InitStruct.Pull = GPIO_NOPULL;
  GPIO_InitStruct.Speed = GPIO_SPEED_FREQ_LOW;
  GPIO_InitStruct.Alternate = GPIO_AF13_DCMI;
  HAL_GPIO_Init(DCMI_D5_GPIO_Port, &GPIO_InitStruct);

  /*Configure GPIO pins : ARDUINO_D7_Pin ARDUINO_D8_Pin LCD_DISP_Pin */
  GPIO_InitStruct.Pin = ARDUINO_D7_Pin|ARDUINO_D8_Pin|LCD_DISP_Pin;
  GPIO_InitStruct.Mode = GPIO_MODE_OUTPUT_PP;
  GPIO_InitStruct.Pull = GPIO_NOPULL;
  GPIO_InitStruct.Speed = GPIO_SPEED_FREQ_LOW;
  HAL_GPIO_Init(GPIOI, &GPIO_InitStruct);

  /*Configure GPIO pin : uSD_Detect_Pin */
  GPIO_InitStruct.Pin = uSD_Detect_Pin;
  GPIO_InitStruct.Mode = GPIO_MODE_INPUT;
  GPIO_InitStruct.Pull = GPIO_NOPULL;
  HAL_GPIO_Init(uSD_Detect_GPIO_Port, &GPIO_InitStruct);

  /*Configure GPIO pins : FMC_A0_Pin FMC_A1_Pin FMC_A2_Pin FMC_A3_Pin
                           FMC_A4_Pin FMC_A5_Pin FMC_A6_Pin FMC_A9_Pin
                           FMC_A7_Pin FMC_A8_Pin FMC_SDNRAS_Pin */
  GPIO_InitStruct.Pin = FMC_A0_Pin|FMC_A1_Pin|FMC_A2_Pin|FMC_A3_Pin
                          |FMC_A4_Pin|FMC_A5_Pin|FMC_A6_Pin|FMC_A9_Pin
                          |FMC_A7_Pin|FMC_A8_Pin|FMC_SDNRAS_Pin;
  GPIO_InitStruct.Mode = GPIO_MODE_AF_PP;
  GPIO_InitStruct.Pull = GPIO_NOPULL;
  GPIO_InitStruct.Speed = GPIO_SPEED_FREQ_VERY_HIGH;
  GPIO_InitStruct.Alternate = GPIO_AF12_FMC;
  HAL_GPIO_Init(GPIOF, &GPIO_InitStruct);

  /*Configure GPIO pins : LCD_HSYNC_Pin LCD_VSYNC_Pin LCD_R0_Pin LCD_CLK_Pin */
  GPIO_InitStruct.Pin = LCD_HSYNC_Pin|LCD_VSYNC_Pin|LCD_R0_Pin|LCD_CLK_Pin;
  GPIO_InitStruct.Mode = GPIO_MODE_AF_PP;
  GPIO_InitStruct.Pull = GPIO_NOPULL;
  GPIO_InitStruct.Speed = GPIO_SPEED_FREQ_LOW;
  GPIO_InitStruct.Alternate = GPIO_AF14_LTDC;
  HAL_GPIO_Init(GPIOI, &GPIO_InitStruct);

  /*Configure GPIO pin : LCD_BL_CTRL_Pin */
  GPIO_InitStruct.Pin = LCD_BL_CTRL_Pin;
  GPIO_InitStruct.Mode = GPIO_MODE_OUTPUT_PP;
  GPIO_InitStruct.Pull = GPIO_NOPULL;
  GPIO_InitStruct.Speed = GPIO_SPEED_FREQ_LOW;
  HAL_GPIO_Init(LCD_BL_CTRL_GPIO_Port, &GPIO_InitStruct);

  /*Configure GPIO pin : DCMI_VSYNC_Pin */
  GPIO_InitStruct.Pin = DCMI_VSYNC_Pin;
  GPIO_InitStruct.Mode = GPIO_MODE_AF_PP;
  GPIO_InitStruct.Pull = GPIO_NOPULL;
  GPIO_InitStruct.Speed = GPIO_SPEED_FREQ_LOW;
  GPIO_InitStruct.Alternate = GPIO_AF13_DCMI;
  HAL_GPIO_Init(DCMI_VSYNC_GPIO_Port, &GPIO_InitStruct);

  /*Configure GPIO pin : OTG_FS_OverCurrent_Pin */
  GPIO_InitStruct.Pin = OTG_FS_OverCurrent_Pin;
  GPIO_InitStruct.Mode = GPIO_MODE_INPUT;
  GPIO_InitStruct.Pull = GPIO_NOPULL;
  HAL_GPIO_Init(OTG_FS_OverCurrent_GPIO_Port, &GPIO_InitStruct);

  /*Configure GPIO pin : SDMMC_D0_Pin */
  GPIO_InitStruct.Pin = SDMMC_D0_Pin;
  GPIO_InitStruct.Mode = GPIO_MODE_AF_PP;
  GPIO_InitStruct.Pull = GPIO_NOPULL;
  GPIO_InitStruct.Speed = GPIO_SPEED_FREQ_VERY_HIGH;
  GPIO_InitStruct.Alternate = GPIO_AF12_SDMMC1;
  HAL_GPIO_Init(SDMMC_D0_GPIO_Port, &GPIO_InitStruct);

  /*Configure GPIO pins : TP3_Pin NC2_Pin */
  GPIO_InitStruct.Pin = TP3_Pin|NC2_Pin;
  GPIO_InitStruct.Mode = GPIO_MODE_INPUT;
  GPIO_InitStruct.Pull = GPIO_NOPULL;
  HAL_GPIO_Init(GPIOH, &GPIO_InitStruct);

  /*Configure GPIO pin : ARDUINO_SCK_D13_Pin */
  GPIO_InitStruct.Pin = ARDUINO_SCK_D13_Pin;
  GPIO_InitStruct.Mode = GPIO_MODE_AF_PP;
  GPIO_InitStruct.Pull = GPIO_NOPULL;
  GPIO_InitStruct.Speed = GPIO_SPEED_FREQ_LOW;
  GPIO_InitStruct.Alternate = GPIO_AF5_SPI2;
  HAL_GPIO_Init(ARDUINO_SCK_D13_GPIO_Port, &GPIO_InitStruct);

  /*Configure GPIO pin : DCMI_PWR_EN_Pin */
  GPIO_InitStruct.Pin = DCMI_PWR_EN_Pin;
  GPIO_InitStruct.Mode = GPIO_MODE_OUTPUT_PP;
  GPIO_InitStruct.Pull = GPIO_NOPULL;
  GPIO_InitStruct.Speed = GPIO_SPEED_FREQ_LOW;
  HAL_GPIO_Init(DCMI_PWR_EN_GPIO_Port, &GPIO_InitStruct);

  /*Configure GPIO pins : DCMI_D4_Pin DCMI_D3_Pin DCMI_D0_Pin DCMI_D2_Pin
                           DCMI_D1_Pin */
  GPIO_InitStruct.Pin = DCMI_D4_Pin|DCMI_D3_Pin|DCMI_D0_Pin|DCMI_D2_Pin
                          |DCMI_D1_Pin;
  GPIO_InitStruct.Mode = GPIO_MODE_AF_PP;
  GPIO_InitStruct.Pull = GPIO_NOPULL;
  GPIO_InitStruct.Speed = GPIO_SPEED_FREQ_LOW;
  GPIO_InitStruct.Alternate = GPIO_AF13_DCMI;
  HAL_GPIO_Init(GPIOH, &GPIO_InitStruct);

  /*Configure GPIO pin : ARDUINO_PWM_CS_D5_Pin */
  GPIO_InitStruct.Pin = ARDUINO_PWM_CS_D5_Pin;
  GPIO_InitStruct.Mode = GPIO_MODE_AF_PP;
  GPIO_InitStruct.Pull = GPIO_NOPULL;
  GPIO_InitStruct.Speed = GPIO_SPEED_FREQ_LOW;
  GPIO_InitStruct.Alternate = GPIO_AF2_TIM5;
  HAL_GPIO_Init(ARDUINO_PWM_CS_D5_GPIO_Port, &GPIO_InitStruct);

  /*Configure GPIO pin : ARDUINO_PWM_D10_Pin */
  GPIO_InitStruct.Pin = ARDUINO_PWM_D10_Pin;
  GPIO_InitStruct.Mode = GPIO_MODE_AF_PP;
  GPIO_InitStruct.Pull = GPIO_NOPULL;
  GPIO_InitStruct.Speed = GPIO_SPEED_FREQ_LOW;
  GPIO_InitStruct.Alternate = GPIO_AF1_TIM1;
  HAL_GPIO_Init(ARDUINO_PWM_D10_GPIO_Port, &GPIO_InitStruct);

  /*Configure GPIO pin : LCD_INT_Pin */
  GPIO_InitStruct.Pin = LCD_INT_Pin;
  GPIO_InitStruct.Mode = GPIO_MODE_EVT_RISING;
  GPIO_InitStruct.Pull = GPIO_NOPULL;
  HAL_GPIO_Init(LCD_INT_GPIO_Port, &GPIO_InitStruct);

  /*Configure GPIO pins : ARDUINO_RX_D0_Pin ARDUINO_TX_D1_Pin */
  GPIO_InitStruct.Pin = ARDUINO_RX_D0_Pin|ARDUINO_TX_D1_Pin;
  GPIO_InitStruct.Mode = GPIO_MODE_AF_PP;
  GPIO_InitStruct.Pull = GPIO_NOPULL;
  GPIO_InitStruct.Speed = GPIO_SPEED_FREQ_VERY_HIGH;
  GPIO_InitStruct.Alternate = GPIO_AF8_USART6;
  HAL_GPIO_Init(GPIOC, &GPIO_InitStruct);

  /*Configure GPIO pin : ULPI_NXT_Pin */
  GPIO_InitStruct.Pin = ULPI_NXT_Pin;
  GPIO_InitStruct.Mode = GPIO_MODE_AF_PP;
  GPIO_InitStruct.Pull = GPIO_NOPULL;
  GPIO_InitStruct.Speed = GPIO_SPEED_FREQ_VERY_HIGH;
  GPIO_InitStruct.Alternate = GPIO_AF10_OTG_HS;
  HAL_GPIO_Init(ULPI_NXT_GPIO_Port, &GPIO_InitStruct);

  /*Configure GPIO pins : FMC_SDNME_Pin FMC_SDNE0_Pin */
  GPIO_InitStruct.Pin = FMC_SDNME_Pin|FMC_SDNE0_Pin;
  GPIO_InitStruct.Mode = GPIO_MODE_AF_PP;
  GPIO_InitStruct.Pull = GPIO_NOPULL;
  GPIO_InitStruct.Speed = GPIO_SPEED_FREQ_VERY_HIGH;
  GPIO_InitStruct.Alternate = GPIO_AF12_FMC;
  HAL_GPIO_Init(GPIOH, &GPIO_InitStruct);

  /*Configure GPIO pins : ARDUINO_D4_Pin ARDUINO_D2_Pin EXT_RST_Pin */
  GPIO_InitStruct.Pin = ARDUINO_D4_Pin|ARDUINO_D2_Pin|EXT_RST_Pin;
  GPIO_InitStruct.Mode = GPIO_MODE_OUTPUT_PP;
  GPIO_InitStruct.Pull = GPIO_NOPULL;
  GPIO_InitStruct.Speed = GPIO_SPEED_FREQ_LOW;
  HAL_GPIO_Init(GPIOG, &GPIO_InitStruct);

  /*Configure GPIO pins : ARDUINO_A4_Pin ARDUINO_A5_Pin ARDUINO_A1_Pin ARDUINO_A2_Pin
                           ARDUINO_A3_Pin */
  GPIO_InitStruct.Pin = ARDUINO_A4_Pin|ARDUINO_A5_Pin|ARDUINO_A1_Pin|ARDUINO_A2_Pin
                          |ARDUINO_A3_Pin;
  GPIO_InitStruct.Mode = GPIO_MODE_ANALOG;
  GPIO_InitStruct.Pull = GPIO_NOPULL;
  HAL_GPIO_Init(GPIOF, &GPIO_InitStruct);

  /*Configure GPIO pin : FMC_SDCKE0_Pin */
  GPIO_InitStruct.Pin = FMC_SDCKE0_Pin;
  GPIO_InitStruct.Mode = GPIO_MODE_AF_PP;
  GPIO_InitStruct.Pull = GPIO_NOPULL;
  GPIO_InitStruct.Speed = GPIO_SPEED_FREQ_VERY_HIGH;
  GPIO_InitStruct.Alternate = GPIO_AF12_FMC;
  HAL_GPIO_Init(FMC_SDCKE0_GPIO_Port, &GPIO_InitStruct);

  /*Configure GPIO pins : ULPI_STP_Pin ULPI_DIR_Pin */
  GPIO_InitStruct.Pin = ULPI_STP_Pin|ULPI_DIR_Pin;
  GPIO_InitStruct.Mode = GPIO_MODE_AF_PP;
  GPIO_InitStruct.Pull = GPIO_NOPULL;
  GPIO_InitStruct.Speed = GPIO_SPEED_FREQ_VERY_HIGH;
  GPIO_InitStruct.Alternate = GPIO_AF10_OTG_HS;
  HAL_GPIO_Init(GPIOC, &GPIO_InitStruct);

  /*Configure GPIO pins : RMII_MDC_Pin RMII_RXD0_Pin RMII_RXD1_Pin */
  GPIO_InitStruct.Pin = RMII_MDC_Pin|RMII_RXD0_Pin|RMII_RXD1_Pin;
  GPIO_InitStruct.Mode = GPIO_MODE_AF_PP;
  GPIO_InitStruct.Pull = GPIO_NOPULL;
  GPIO_InitStruct.Speed = GPIO_SPEED_FREQ_VERY_HIGH;
  GPIO_InitStruct.Alternate = GPIO_AF11_ETH;
  HAL_GPIO_Init(GPIOC, &GPIO_InitStruct);

  /*Configure GPIO pin : PB2 */
  GPIO_InitStruct.Pin = GPIO_PIN_2;
  GPIO_InitStruct.Mode = GPIO_MODE_AF_PP;
  GPIO_InitStruct.Pull = GPIO_NOPULL;
  GPIO_InitStruct.Speed = GPIO_SPEED_FREQ_VERY_HIGH;
  GPIO_InitStruct.Alternate = GPIO_AF9_QUADSPI;
  HAL_GPIO_Init(GPIOB, &GPIO_InitStruct);

  /*Configure GPIO pins : QSPI_D1_Pin QSPI_D3_Pin QSPI_D0_Pin */
  GPIO_InitStruct.Pin = QSPI_D1_Pin|QSPI_D3_Pin|QSPI_D0_Pin;
  GPIO_InitStruct.Mode = GPIO_MODE_AF_PP;
  GPIO_InitStruct.Pull = GPIO_NOPULL;
  GPIO_InitStruct.Speed = GPIO_SPEED_FREQ_VERY_HIGH;
  GPIO_InitStruct.Alternate = GPIO_AF9_QUADSPI;
  HAL_GPIO_Init(GPIOD, &GPIO_InitStruct);

  /*Configure GPIO pin : RMII_RXER_Pin */
  GPIO_InitStruct.Pin = RMII_RXER_Pin;
  GPIO_InitStruct.Mode = GPIO_MODE_INPUT;
  GPIO_InitStruct.Pull = GPIO_NOPULL;
  HAL_GPIO_Init(RMII_RXER_GPIO_Port, &GPIO_InitStruct);

  /*Configure GPIO pins : RMII_REF_CLK_Pin RMII_MDIO_Pin RMII_CRS_DV_Pin */
  GPIO_InitStruct.Pin = RMII_REF_CLK_Pin|RMII_MDIO_Pin|RMII_CRS_DV_Pin;
  GPIO_InitStruct.Mode = GPIO_MODE_AF_PP;
  GPIO_InitStruct.Pull = GPIO_NOPULL;
  GPIO_InitStruct.Speed = GPIO_SPEED_FREQ_VERY_HIGH;
  GPIO_InitStruct.Alternate = GPIO_AF11_ETH;
  HAL_GPIO_Init(GPIOA, &GPIO_InitStruct);

  /*Configure GPIO pin : ARDUINO_A0_Pin */
  GPIO_InitStruct.Pin = ARDUINO_A0_Pin;
  GPIO_InitStruct.Mode = GPIO_MODE_ANALOG;
  GPIO_InitStruct.Pull = GPIO_NOPULL;
  HAL_GPIO_Init(ARDUINO_A0_GPIO_Port, &GPIO_InitStruct);

  /*Configure GPIO pins : DCMI_HSYNC_Pin PA6 */
  GPIO_InitStruct.Pin = DCMI_HSYNC_Pin|GPIO_PIN_6;
  GPIO_InitStruct.Mode = GPIO_MODE_AF_PP;
  GPIO_InitStruct.Pull = GPIO_NOPULL;
  GPIO_InitStruct.Speed = GPIO_SPEED_FREQ_LOW;
  GPIO_InitStruct.Alternate = GPIO_AF13_DCMI;
  HAL_GPIO_Init(GPIOA, &GPIO_InitStruct);

  /*Configure GPIO pins : LCD_SCL_Pin LCD_SDA_Pin */
  GPIO_InitStruct.Pin = LCD_SCL_Pin|LCD_SDA_Pin;
  GPIO_InitStruct.Mode = GPIO_MODE_AF_OD;
  GPIO_InitStruct.Pull = GPIO_NOPULL;
  GPIO_InitStruct.Speed = GPIO_SPEED_FREQ_VERY_HIGH;
  GPIO_InitStruct.Alternate = GPIO_AF4_I2C3;
  HAL_GPIO_Init(GPIOH, &GPIO_InitStruct);

  /*Configure GPIO pins : ULPI_CLK_Pin ULPI_D0_Pin */
  GPIO_InitStruct.Pin = ULPI_CLK_Pin|ULPI_D0_Pin;
  GPIO_InitStruct.Mode = GPIO_MODE_AF_PP;
  GPIO_InitStruct.Pull = GPIO_NOPULL;
  GPIO_InitStruct.Speed = GPIO_SPEED_FREQ_VERY_HIGH;
  GPIO_InitStruct.Alternate = GPIO_AF10_OTG_HS;
  HAL_GPIO_Init(GPIOA, &GPIO_InitStruct);

  /*Configure GPIO pin : ARDUINO_PWM_D6_Pin */
  GPIO_InitStruct.Pin = ARDUINO_PWM_D6_Pin;
  GPIO_InitStruct.Mode = GPIO_MODE_AF_PP;
  GPIO_InitStruct.Pull = GPIO_NOPULL;
  GPIO_InitStruct.Speed = GPIO_SPEED_FREQ_LOW;
  GPIO_InitStruct.Alternate = GPIO_AF9_TIM12;
  HAL_GPIO_Init(ARDUINO_PWM_D6_GPIO_Port, &GPIO_InitStruct);

  /*Configure GPIO pins : ARDUINO_MISO_D12_Pin ARDUINO_MOSI_PWM_D11_Pin */
  GPIO_InitStruct.Pin = ARDUINO_MISO_D12_Pin|ARDUINO_MOSI_PWM_D11_Pin;
  GPIO_InitStruct.Mode = GPIO_MODE_AF_PP;
  GPIO_InitStruct.Pull = GPIO_NOPULL;
  GPIO_InitStruct.Speed = GPIO_SPEED_FREQ_LOW;
  GPIO_InitStruct.Alternate = GPIO_AF5_SPI2;
  HAL_GPIO_Init(GPIOB, &GPIO_InitStruct);

}

void Error_Handler(void)
{
  __disable_irq();
  while (1)
  {
  }
}
